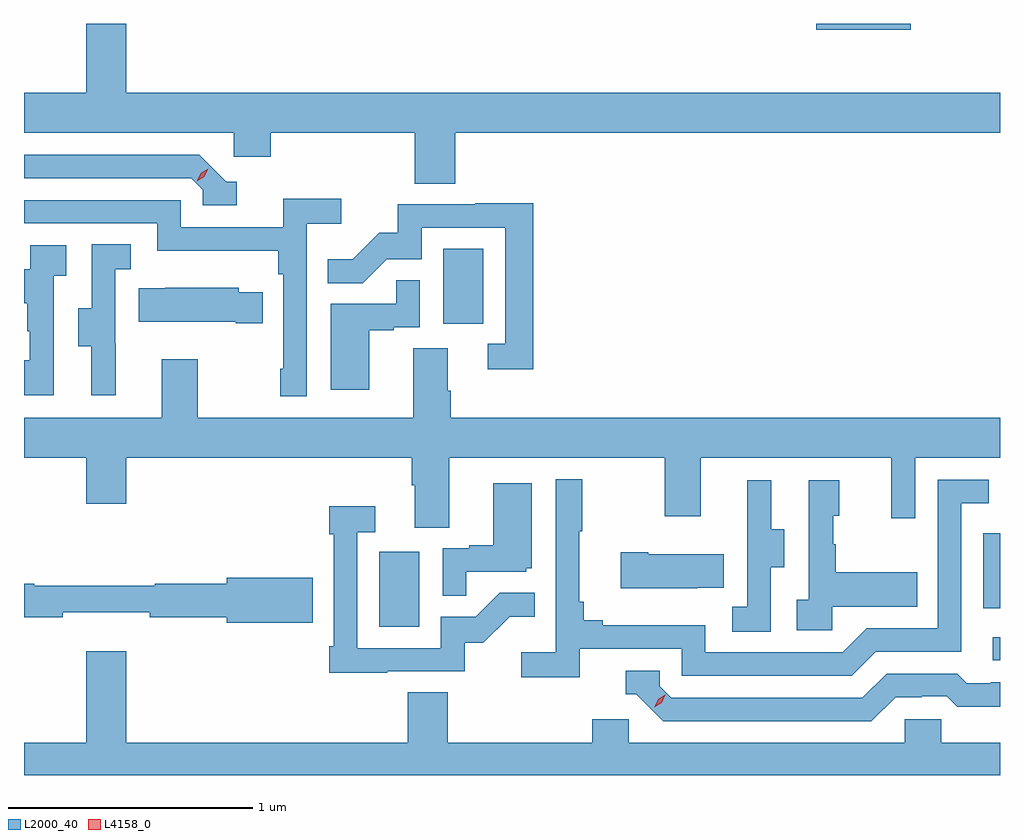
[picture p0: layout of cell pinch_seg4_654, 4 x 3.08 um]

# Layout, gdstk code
import gdstk
lib = gdstk.Library(unit=1e-6, precision=1e-09)
def R(c, l, rs):  # rectangles x0, y0, x1, y1
    for r in rs: c.add(gdstk.rectangle(r[:2], r[2:], *l))
def P(c, l, *ps):  # polygons
    for p in ps: c.add(gdstk.Polygon(p, *l))
L2000_40 = (2000, 40)
L4158_0 = (4158, 0)

pinch_seg4_654 = lib.new_cell('pinch_seg4_654')
R(pinch_seg4_654, L2000_40, [(1079.811,749.37,1079.841,749.466), (1077.296,749.508,1077.46,749.815), (1079.772,749.583,1079.841,749.892), (1077.56,750.75,1077.724,751.057), (1079.088,751.955,1079.476,751.979)])
P(pinch_seg4_654, L2000_40, [(1077.608,751.532),(1079.841,751.532),(1079.841,751.696),(1076.26,751.696),(1076.26,751.979),(1076.096,751.979),(1076.096,751.696),(1075.841,751.696),(1075.841,751.532),(1076.7,751.532),(1076.7,751.434),(1076.852,751.434),(1076.852,751.532),(1077.443,751.532),(1077.443,751.324),(1077.608,751.324)],
  [(1076.713,751.332),(1076.67,751.332),(1076.559,751.443),(1075.841,751.443),(1075.841,751.347),(1076.526,751.347),(1076.574,751.299),(1076.574,751.236),(1076.713,751.236)],
  [(1077,751.16),(1077.142,751.16),(1077.142,751.262),(1076.903,751.262),(1076.903,751.146),(1076.484,751.146),(1076.484,751.257),(1075.841,751.257),(1075.841,751.161),(1076.388,751.161),(1076.388,751.049),(1076.884,751.049),(1076.884,750.953),(1076.904,750.953),(1076.904,750.565),(1076.892,750.565),(1076.892,750.453),(1077,750.453)],
  [(1077.929,751.244),(1077.691,751.244),(1077.691,751.239),(1077.373,751.239),(1077.373,751.122),(1077.296,751.122),(1077.189,751.015),(1077.085,751.015),(1077.085,750.916),(1077.229,750.916),(1077.327,751.014),(1077.471,751.014),(1077.471,751.143),(1077.813,751.143),(1077.813,750.669),(1077.741,750.669),(1077.741,750.564),(1077.929,750.564)],
  [(1076.216,750.669),(1076.214,750.669),(1076.214,750.973),(1076.278,750.973),(1076.278,751.076),(1076.118,751.076),(1076.118,750.813),(1076.063,750.813),(1076.063,750.658),(1076.117,750.658),(1076.117,750.456),(1076.216,750.456)],
  [(1075.962,750.947),(1076.014,750.947),(1076.014,751.071),(1075.866,751.071),(1075.866,750.973),(1075.841,750.973),(1075.841,750.833),(1075.854,750.833),(1075.854,750.719),(1075.864,750.719),(1075.864,750.6),(1075.841,750.6),(1075.841,750.456),(1075.962,750.456)],
  [(1077.256,750.723),(1077.356,750.723),(1077.356,750.735),(1077.462,750.735),(1077.462,750.929),(1077.367,750.929),(1077.367,750.831),(1077.098,750.831),(1077.098,750.48),(1077.256,750.48)],
  [(1076.819,750.88),(1076.721,750.88),(1076.721,750.898),(1076.419,750.898),(1076.419,750.895),(1076.311,750.895),(1076.311,750.758),(1076.708,750.758),(1076.708,750.751),(1076.819,750.751)],
  [(1077.59,750.476),(1077.577,750.476),(1077.577,750.65),(1077.437,750.65),(1077.437,750.364),(1076.553,750.364),(1076.553,750.604),(1076.405,750.604),(1076.405,750.364),(1075.841,750.364),(1075.841,750.2),(1076.096,750.2),(1076.096,750.012),(1076.26,750.012),(1076.26,750.2),(1077.431,750.2),(1077.431,750.088),(1077.443,750.088),(1077.443,749.914),(1077.583,749.914),(1077.583,750.2),(1078.468,750.2),(1078.468,749.961),(1078.615,749.961),(1078.615,750.2),(1079.396,750.2),(1079.396,749.952),(1079.493,749.952),(1079.493,750.2),(1079.841,750.2),(1079.841,750.364),(1077.59,750.364)],
  [(1078.118,749.418),(1078.536,749.418),(1078.536,749.307),(1079.233,749.307),(1079.332,749.406),(1079.682,749.406),(1079.682,750.015),(1079.795,750.015),(1079.795,750.111),(1079.586,750.111),(1079.586,749.502),(1079.295,749.502),(1079.196,749.403),(1078.632,749.403),(1078.632,749.515),(1078.213,749.515),(1078.213,749.534),(1078.136,749.534),(1078.136,749.611),(1078.117,749.611),(1078.117,749.899),(1078.129,749.899),(1078.129,750.112),(1078.02,750.112),(1078.02,749.404),(1077.879,749.404),(1077.879,749.302),(1078.118,749.302)],
  [(1079.154,749.591),(1079.501,749.591),(1079.501,749.731),(1079.167,749.731),(1079.167,749.846),(1079.157,749.846),(1079.157,749.964),(1079.182,749.964),(1079.182,750.109),(1079.058,750.109),(1079.058,749.618),(1079.007,749.618),(1079.007,749.493),(1079.154,749.493)],
  [(1078.902,749.752),(1078.957,749.752),(1078.957,749.907),(1078.903,749.907),(1078.903,750.109),(1078.805,750.109),(1078.805,749.895),(1078.806,749.895),(1078.806,749.591),(1078.743,749.591),(1078.743,749.488),(1078.902,749.488)],
  [(1077.653,749.733),(1077.9,749.733),(1077.9,749.748),(1077.922,749.748),(1077.922,750.097),(1077.764,750.097),(1077.764,749.842),(1077.665,749.842),(1077.665,749.829),(1077.558,749.829),(1077.558,749.635),(1077.653,749.635)],
  [(1077.329,749.325),(1077.648,749.325),(1077.648,749.442),(1077.724,749.442),(1077.831,749.549),(1077.935,749.549),(1077.935,749.648),(1077.791,749.648),(1077.693,749.55),(1077.549,749.55),(1077.549,749.421),(1077.207,749.421),(1077.207,749.895),(1077.28,749.895),(1077.28,750.001),(1077.091,750.001),(1077.091,749.888),(1077.111,749.888),(1077.111,749.428),(1077.091,749.428),(1077.091,749.32),(1077.329,749.32)],
  [(1078.601,749.669),(1078.709,749.669),(1078.709,749.806),(1078.399,749.806),(1078.399,749.814),(1078.287,749.814),(1078.287,749.666),(1078.601,749.666)],
  [(1077.025,749.708),(1076.672,749.708),(1076.672,749.684),(1076.376,749.684),(1076.376,749.677),(1075.884,749.677),(1075.884,749.684),(1075.841,749.684),(1075.841,749.548),(1076,749.548),(1076,749.567),(1076.356,749.567),(1076.356,749.548),(1076.672,749.548),(1076.672,749.525),(1077.025,749.525)],
  [(1079.841,749.032),(1079.601,749.032),(1079.601,749.13),(1079.451,749.13),(1079.451,749.032),(1078.32,749.032),(1078.32,749.13),(1078.169,749.13),(1078.169,749.032),(1077.578,749.032),(1077.578,749.24),(1077.413,749.24),(1077.413,749.032),(1076.26,749.032),(1076.26,749.407),(1076.096,749.407),(1076.096,749.032),(1075.841,749.032),(1075.841,748.9),(1079.841,748.9)],
  [(1079.413,749.22),(1079.52,749.22),(1079.52,749.223),(1079.623,749.223),(1079.665,749.181),(1079.841,749.181),(1079.841,749.28),(1079.803,749.28),(1079.803,749.277),(1079.704,749.277),(1079.665,749.316),(1079.376,749.316),(1079.277,749.217),(1078.494,749.217),(1078.446,749.265),(1078.446,749.328),(1078.307,749.328),(1078.307,749.232),(1078.35,749.232),(1078.461,749.121),(1079.314,749.121)])
P(pinch_seg4_654, L4158_0, [(1076.549,751.334),(1076.549,751.334),(1076.565,751.366),(1076.596,751.386),(1076.597,751.386),(1076.597,751.385),(1076.58,751.353),(1076.549,751.334)],
  [(1078.424,749.178),(1078.424,749.178),(1078.44,749.211),(1078.47,749.23),(1078.47,749.23),(1078.47,749.23),(1078.455,749.197),(1078.425,749.178)])

lib.write_gds('pinch_seg4_654.gds')
